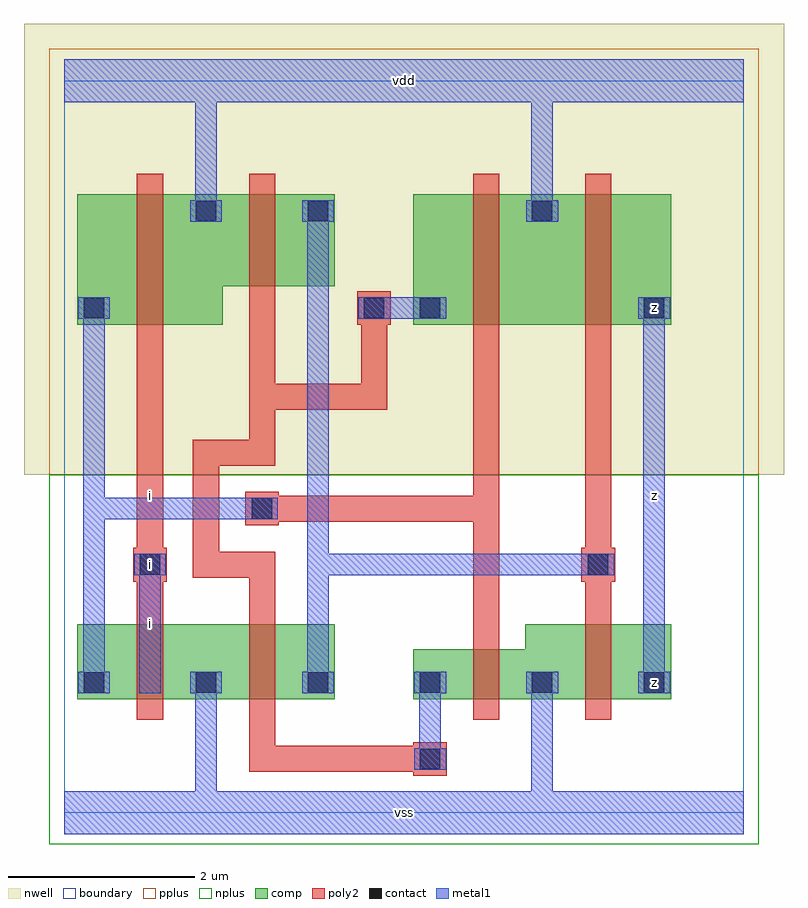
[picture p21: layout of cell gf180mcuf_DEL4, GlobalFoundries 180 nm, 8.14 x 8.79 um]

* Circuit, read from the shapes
.subckt gf180mcuf_DEL4 i vdd vss z
XM1 vss i n1 VSUBS nfet_03v3 w=0.8u l=0.28u
XM2 n2 n3 vss VSUBS nfet_03v3 w=0.8u l=0.28u
XM3 vss n1 n3 VSUBS nfet_03v3 w=0.535u l=0.28u
XM4 z n2 vss VSUBS nfet_03v3 w=0.8u l=0.28u
XM5 vdd i n1 n4 pfet_03v3 w=1.4u l=0.28u
XM6 n2 n3 vdd n4 pfet_03v3 w=0.99u l=0.28u
XM7 vdd n1 n3 n4 pfet_03v3 w=1.4u l=0.28u
XM8 z n2 vdd n4 pfet_03v3 w=1.4u l=0.28u
.ends

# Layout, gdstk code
import gdstk
lib = gdstk.Library(unit=1e-6, precision=1e-09)
def R(c, l, rs):  # rectangles x0, y0, x1, y1
    for r in rs: c.add(gdstk.rectangle(r[:2], r[2:], *l))
def A(c, l, x, y, w, h, nx, ny, dx, dy):  # array of equal rectangles
    R(c, l, [(x+i*dx, y+j*dy, x+i*dx+w, y+j*dy+h) for i in range(nx) for j in range(ny)])
boundary = (0, 0)
nwell = (21, 0)
comp = (22, 0)
poly2 = (30, 0)
pplus = (31, 0)
nplus = (32, 0)
contact = (33, 0)
metal1 = (34, 0)

gf180mcuf_del4 = lib.new_cell('gf180mcuf_DEL4')
R(gf180mcuf_del4, boundary, [(0,0,7.28,7.84)])
R(gf180mcuf_del4, nwell, [(-0.43,3.62,7.71,8.45)])
A(gf180mcuf_del4, comp, 0.14, 1.215, 0.36, 0.36, 6, 1, 1.2, 0)
R(gf180mcuf_del4, comp, [(0.14,1.215,1.7,2.015), (1.34,1.215,2.9,2.015), (3.74,1.215,5.3,1.75), (4.94,1.215,6.5,2.015), (0.14,5.225,1.7,6.625), (0.14,5.225,0.5,5.585), (3.74,5.225,5.3,6.625), (3.74,5.225,4.1,5.585), (4.94,5.225,6.5,6.625), (6.14,5.225,6.5,5.585), (1.34,5.635,2.9,6.625), (1.34,6.265,1.7,6.625), (2.54,6.265,2.9,6.625), (4.94,6.265,5.3,6.625)])
R(gf180mcuf_del4, poly2, [(3.74,0.395,4.1,0.755), (1.98,0.435,2.26,1.535), (1.98,0.435,4.06,0.715), (0.78,0.995,1.06,2.235), (1.98,0.995,2.26,2.235), (4.38,0.995,4.66,1.97), (5.58,0.995,5.86,2.235), (0.78,1.255,1.06,5.545), (1.98,1.255,2.26,2.795), (4.38,1.255,4.66,5.545), (5.58,1.255,5.86,2.795), (0.74,2.475,1.1,2.835), (5.54,2.475,5.9,2.835), (1.38,2.515,2.26,2.795), (1.38,2.515,1.66,3.995), (5.58,2.515,5.86,5.545), (1.94,3.075,2.3,3.435), (1.98,3.115,4.66,3.395), (1.38,3.715,2.26,3.995), (1.98,3.715,2.26,6.585), (1.98,4.315,3.46,4.595), (3.18,4.315,3.46,5.545), (0.78,5.005,1.06,6.845), (4.38,5.005,4.66,6.845), (5.58,5.005,5.86,6.845), (3.14,5.225,3.5,5.585), (1.98,5.415,2.26,6.845)])
R(gf180mcuf_del4, pplus, [(-0.16,3.62,7.44,7.5), (-0.16,7.5,7.44,8.18)])
R(gf180mcuf_del4, nplus, [(-0.16,-0.34,7.44,0.34), (-0.16,0.34,7.44,3.62)])
A(gf180mcuf_del4, contact, 0.21, 1.285, 0.22, 0.22, 6, 1, 1.2, 0)
R(gf180mcuf_del4, contact, [(3.81,0.465,4.03,0.685), (0.81,2.545,1.03,2.765), (5.61,2.545,5.83,2.765), (2.01,3.145,2.23,3.365), (0.21,5.295,0.43,5.515), (3.21,5.295,3.43,5.515), (3.81,5.295,4.03,5.515), (6.21,5.295,6.43,5.515), (1.41,6.335,1.63,6.555), (2.61,6.335,2.83,6.555), (5.01,6.335,5.23,6.555)])
A(gf180mcuf_del4, metal1, 0.15, 1.28, 0.34, 0.23, 6, 1, 1.2, 0)
R(gf180mcuf_del4, metal1, [(0,-0.23,7.28,0.23), (1.405,0.065,1.635,1.51), (5.005,0.065,5.235,1.51), (3.75,0.46,4.09,0.69), (3.805,0.46,4.035,1.51), (0.205,1.28,0.435,3.37), (0.805,1.28,1.035,2.77), (2.605,1.28,2.835,2.77), (6.205,1.28,6.435,5.52), (0.75,2.54,1.09,2.77), (2.605,2.54,5.835,2.77), (2.605,2.54,2.835,6.56), (5.55,2.54,5.89,2.77), (0.205,3.14,2.235,3.37), (0.205,3.14,0.435,5.52), (1.95,3.14,2.29,3.37), (0.15,5.29,0.49,5.52), (3.15,5.29,3.49,5.52), (3.205,5.29,4.035,5.52), (3.75,5.29,4.09,5.52), (6.15,5.29,6.49,5.52), (1.35,6.33,1.69,6.56), (1.405,6.33,1.635,7.775), (2.55,6.33,2.89,6.56), (4.95,6.33,5.29,6.56), (5.005,6.33,5.235,7.775), (0,7.61,7.28,8.07)])
gf180mcuf_del4.add(gdstk.FlexPath([(0.14,0.575),(6.5,0.575)], 0, ends="flush", simple_path=True, layer=0, datatype=0))  # boundary
gf180mcuf_del4.add(gdstk.FlexPath([(0.14,1.395),(6.5,1.395)], 0, ends="flush", simple_path=True, layer=0, datatype=0))  # boundary
gf180mcuf_del4.add(gdstk.FlexPath([(0.14,2.655),(6.5,2.655)], 0, ends="flush", simple_path=True, layer=0, datatype=0))  # boundary
gf180mcuf_del4.add(gdstk.FlexPath([(0.14,3.255),(6.5,3.255)], 0, ends="flush", simple_path=True, layer=0, datatype=0))  # boundary
gf180mcuf_del4.add(gdstk.FlexPath([(0.14,3.855),(6.5,3.855)], 0, ends="flush", simple_path=True, layer=0, datatype=0))  # boundary
gf180mcuf_del4.add(gdstk.FlexPath([(0.14,4.455),(6.5,4.455)], 0, ends="flush", simple_path=True, layer=0, datatype=0))  # boundary
gf180mcuf_del4.add(gdstk.FlexPath([(0.14,5.405),(6.5,5.405)], 0, ends="flush", simple_path=True, layer=0, datatype=0))  # boundary
gf180mcuf_del4.add(gdstk.FlexPath([(0.14,6.445),(6.5,6.445)], 0, ends="flush", simple_path=True, layer=0, datatype=0))  # boundary
gf180mcuf_del4.add(gdstk.FlexPath([(0.14,7.265),(6.5,7.265)], 0, ends="flush", simple_path=True, layer=0, datatype=0))  # boundary
gf180mcuf_del4.add(gdstk.FlexPath([(0.32,0.065),(0.32,7.775)], 0, ends="flush", simple_path=True, layer=0, datatype=0))  # boundary
gf180mcuf_del4.add(gdstk.FlexPath([(0.92,0.065),(0.92,7.775)], 0, ends="flush", simple_path=True, layer=0, datatype=0))  # boundary
gf180mcuf_del4.add(gdstk.FlexPath([(1.52,0.065),(1.52,7.775)], 0, ends="flush", simple_path=True, layer=0, datatype=0))  # boundary
gf180mcuf_del4.add(gdstk.FlexPath([(2.12,0.065),(2.12,7.775)], 0, ends="flush", simple_path=True, layer=0, datatype=0))  # boundary
gf180mcuf_del4.add(gdstk.FlexPath([(2.72,0.065),(2.72,7.775)], 0, ends="flush", simple_path=True, layer=0, datatype=0))  # boundary
gf180mcuf_del4.add(gdstk.FlexPath([(3.32,0.065),(3.32,7.775)], 0, ends="flush", simple_path=True, layer=0, datatype=0))  # boundary
gf180mcuf_del4.add(gdstk.FlexPath([(3.92,0.065),(3.92,7.775)], 0, ends="flush", simple_path=True, layer=0, datatype=0))  # boundary
gf180mcuf_del4.add(gdstk.FlexPath([(4.52,0.065),(4.52,7.775)], 0, ends="flush", simple_path=True, layer=0, datatype=0))  # boundary
gf180mcuf_del4.add(gdstk.FlexPath([(5.12,0.065),(5.12,7.775)], 0, ends="flush", simple_path=True, layer=0, datatype=0))  # boundary
gf180mcuf_del4.add(gdstk.FlexPath([(5.72,0.065),(5.72,7.775)], 0, ends="flush", simple_path=True, layer=0, datatype=0))  # boundary
gf180mcuf_del4.add(gdstk.FlexPath([(6.32,0.065),(6.32,7.775)], 0, ends="flush", simple_path=True, layer=0, datatype=0))  # boundary
gf180mcuf_del4.add(gdstk.Label('z', (6.32,1.395), layer=22, texttype=0))
gf180mcuf_del4.add(gdstk.Label('z', (6.32,5.405), layer=22, texttype=0))
gf180mcuf_del4.add(gdstk.Label('i', (0.92,3.4), layer=30, texttype=0))
gf180mcuf_del4.add(gdstk.Label('i', (0.92,2.655), layer=30, texttype=0))
gf180mcuf_del4.add(gdstk.Label('z', (6.32,1.395), layer=33, texttype=0))
gf180mcuf_del4.add(gdstk.Label('z', (6.32,5.405), layer=33, texttype=0))
gf180mcuf_del4.add(gdstk.Label('i', (0.92,2.655), layer=33, texttype=0))
gf180mcuf_del4.add(gdstk.Label('z', (6.32,1.395), layer=34, texttype=10))
gf180mcuf_del4.add(gdstk.Label('z', (6.32,5.405), layer=34, texttype=10))
gf180mcuf_del4.add(gdstk.Label('z', (6.32,3.4), layer=34, texttype=10))
gf180mcuf_del4.add(gdstk.Label('i', (0.92,2.655), layer=34, texttype=10))
gf180mcuf_del4.add(gdstk.Label('i', (0.92,2.025), layer=34, texttype=10))
gf180mcuf_del4.add(gdstk.Label('vss', (3.64,0), layer=34, texttype=10))
gf180mcuf_del4.add(gdstk.Label('vdd', (3.64,7.84), layer=34, texttype=10))

lib.write_gds('gf180mcuf_DEL4.gds')
